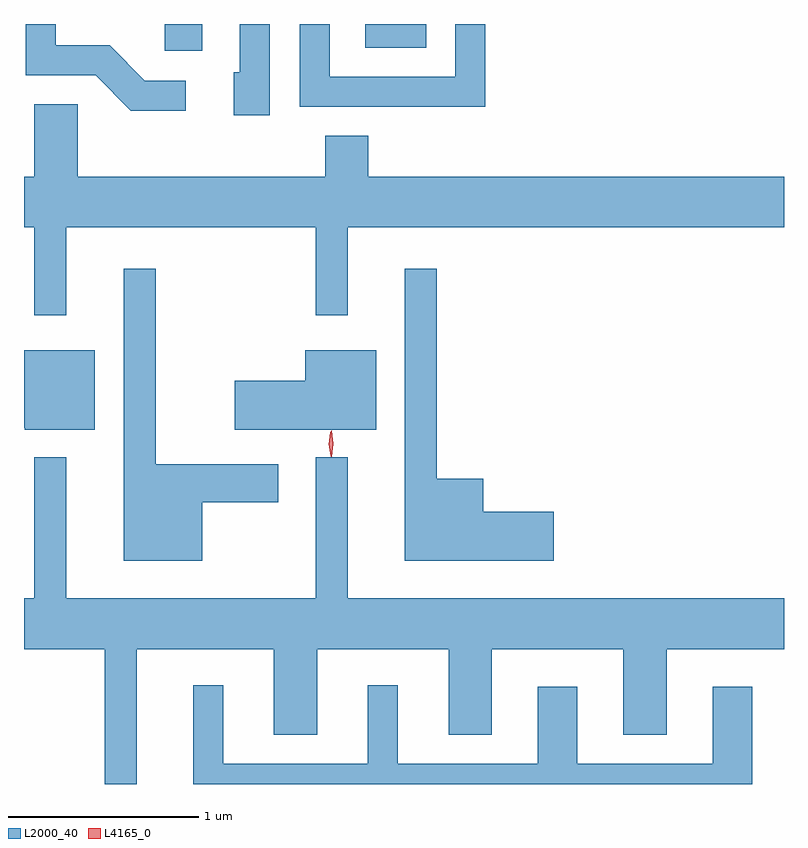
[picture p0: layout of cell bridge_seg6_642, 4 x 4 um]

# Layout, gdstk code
import gdstk
lib = gdstk.Library(unit=1e-6, precision=1e-09)
def R(c, l, rs):  # rectangles x0, y0, x1, y1
    for r in rs: c.add(gdstk.rectangle(r[:2], r[2:], *l))
def P(c, l, *ps):  # polygons
    for p in ps: c.add(gdstk.Polygon(p, *l))
L2000_40 = (2000, 40)
L4165_0 = (4165, 0)

bridge_seg6_642 = lib.new_cell('bridge_seg6_642')
R(bridge_seg6_642, L2000_40, [(197.166,1641.986,197.364,1642.127), (198.221,1642.001,198.544,1642.127)])
P(bridge_seg6_642, L2000_40, [(197.278,1641.829),(197.062,1641.829),(196.877,1642.014),(196.594,1642.014),(196.594,1642.127),(196.436,1642.127),(196.436,1641.856),(196.804,1641.856),(196.989,1641.671),(197.278,1641.671)],
  [(197.719,1642.127),(197.561,1642.127),(197.561,1641.874),(197.531,1641.874),(197.531,1641.646),(197.719,1641.646)],
  [(198.854,1642.127),(198.696,1642.127),(198.696,1641.849),(198.034,1641.849),(198.034,1642.127),(197.876,1642.127),(197.876,1641.691),(198.854,1641.691)],
  [(196.649,1641.056),(197.961,1641.056),(197.961,1640.593),(198.129,1640.593),(198.129,1641.056),(200.426,1641.056),(200.426,1641.324),(198.239,1641.324),(198.239,1641.539),(198.011,1641.539),(198.011,1641.324),(196.709,1641.324),(196.709,1641.704),(196.481,1641.704),(196.481,1641.324),(196.426,1641.324),(196.426,1641.056),(196.481,1641.056),(196.481,1640.593),(196.649,1640.593)],
  [(199.214,1639.559),(198.844,1639.559),(198.844,1639.734),(198.599,1639.734),(198.599,1640.838),(198.431,1640.838),(198.431,1639.301),(199.214,1639.301)],
  [(197.364,1639.611),(197.764,1639.611),(197.764,1639.809),(197.119,1639.809),(197.119,1640.838),(196.951,1640.838),(196.951,1639.301),(197.364,1639.301)],
  [(198.279,1640.409),(197.906,1640.409),(197.906,1640.249),(197.536,1640.249),(197.536,1639.991),(198.279,1639.991)],
  [(196.799,1640.409),(196.426,1640.409),(196.426,1640.001),(196.43,1640.001),(196.43,1639.991),(196.799,1639.991)],
  [(197.019,1638.836),(197.741,1638.836),(197.741,1638.386),(197.969,1638.386),(197.969,1638.836),(198.661,1638.836),(198.661,1638.386),(198.889,1638.386),(198.889,1638.836),(199.581,1638.836),(199.581,1638.386),(199.809,1638.386),(199.809,1638.836),(200.426,1638.836),(200.426,1639.104),(198.129,1639.104),(198.129,1639.848),(197.961,1639.848),(197.961,1639.104),(196.649,1639.104),(196.649,1639.848),(196.481,1639.848),(196.481,1639.104),(196.426,1639.104),(196.426,1638.836),(196.851,1638.836),(196.851,1638.127),(197.019,1638.127)],
  [(200.259,1638.639),(200.051,1638.639),(200.051,1638.234),(199.339,1638.234),(199.339,1638.639),(199.131,1638.639),(199.131,1638.234),(198.394,1638.234),(198.394,1638.648),(198.236,1638.648),(198.236,1638.234),(197.474,1638.234),(197.474,1638.648),(197.316,1638.648),(197.316,1638.127),(200.259,1638.127)])
P(bridge_seg6_642, L4165_0, [(198.044,1639.85),(198.035,1639.918),(198.044,1639.985),(198.044,1639.986),(198.045,1639.985),(198.054,1639.918),(198.045,1639.85),(198.045,1639.85)],
  [(198.04,1639.853),(198.03,1639.916),(198.039,1639.979),(198.04,1639.98),(198.04,1639.979),(198.05,1639.916),(198.041,1639.853),(198.041,1639.853)])

lib.write_gds('bridge_seg6_642.gds')
